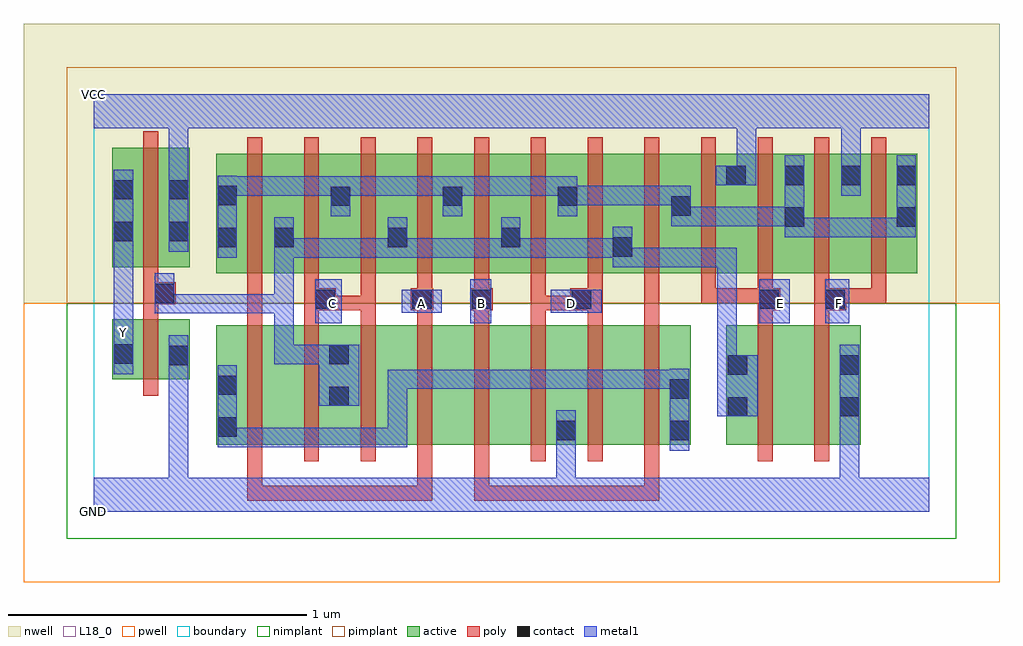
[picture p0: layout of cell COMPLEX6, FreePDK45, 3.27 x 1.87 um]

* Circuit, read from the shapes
.subckt COMPLEX6 A B C D E F GND VCC Y
M1 GND n1 Y VSUBS nfet w=0.2u l=0.05u
M2 n2 A n3 VSUBS nfet w=0.4u l=0.05u
M3 n1 C n2 VSUBS nfet w=0.4u l=0.05u
M4 n4 C n1 VSUBS nfet w=0.4u l=0.05u
M5 n5 A n4 VSUBS nfet w=0.4u l=0.05u
M6 n6 B n5 VSUBS nfet w=0.4u l=0.05u
M7 GND D n6 VSUBS nfet w=0.4u l=0.05u
M8 n7 D GND VSUBS nfet w=0.4u l=0.05u
M9 n3 B n7 VSUBS nfet w=0.4u l=0.05u
M10 n8 E n1 VSUBS nfet w=0.4u l=0.05u
M11 GND F n8 VSUBS nfet w=0.4u l=0.05u
M12 VCC n1 Y n9 pfet w=0.4u l=0.05u
M13 n1 A n10 n9 pfet w=0.4u l=0.05u m=2
M14 n10 C n1 n9 pfet w=0.4u l=0.05u m=2
M15 n1 B n10 n9 pfet w=0.4u l=0.05u m=2
M16 n10 D n1 n9 pfet w=0.4u l=0.05u m=2
M17 VCC E n10 n9 pfet w=0.4u l=0.05u m=2
M18 VCC F n10 n9 pfet w=0.4u l=0.05u m=2
.ends

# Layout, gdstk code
import gdstk
lib = gdstk.Library(unit=1e-6, precision=1e-09)
def R(c, l, rs):  # rectangles x0, y0, x1, y1
    for r in rs: c.add(gdstk.rectangle(r[:2], r[2:], *l))
def A(c, l, x, y, w, h, nx, ny, dx, dy):  # array of equal rectangles
    R(c, l, [(x+i*dx, y+j*dy, x+i*dx+w, y+j*dy+h) for i in range(nx) for j in range(ny)])
active = (1, 0)
pwell = (2, 0)
nwell = (3, 0)
nimplant = (4, 0)
pimplant = (5, 0)
poly = (9, 0)
contact = (10, 0)
metal1 = (11, 0)
L18_0 = (18, 0)
boundary = (235, 0)

complex6 = lib.new_cell('COMPLEX6')
A(complex6, active, 0.41, 0.8, 0.265, 0.4, 3, 1, 0.19, 0)
A(complex6, active, 0.6, 0.8, 0.075, 0.27, 3, 1, 0.38, 0)
R(complex6, active, [(0.41,0.225,0.635,0.625), (0.635,0.225,0.86,0.625), (0.785,0.225,1.015,0.625), (1.015,0.225,1.205,0.625), (1.205,0.225,1.395,0.625), (1.395,0.225,1.62,0.625), (1.545,0.225,1.775,0.625), (1.545,0.225,1.62,0.617), (1.775,0.225,2,0.625), (1.925,0.225,2,0.625), (2.12,0.225,2.195,0.625), (2.12,0.225,2.345,0.625), (2.345,0.225,2.57,0.625), (2.495,0.225,2.57,0.625), (0.41,0.245,0.485,0.625), (0.785,0.245,0.86,0.617), (0.062,0.445,0.137,0.645), (0.062,0.445,0.322,0.645), (0.247,0.445,0.322,0.645), (0.41,0.8,0.485,1.192), (0.98,0.8,1.24,1.2), (1.165,0.8,1.435,1.2), (1.36,0.8,1.625,1.2), (1.55,0.8,1.81,1.2), (1.735,0.8,2.005,1.2), (1.735,0.8,1.81,1.07), (1.93,0.8,2.005,1.192), (1.93,0.8,2.19,1.2), (2.115,0.8,2.385,1.2), (2.31,0.8,2.385,1.2), (2.31,0.8,2.575,1.2), (2.5,0.8,2.76,1.2), (2.685,0.8,2.76,1.2), (2.115,0.802,2.19,1.2), (2.5,0.802,2.575,1.2), (0.062,0.82,0.322,1.22), (0.062,0.82,0.137,1.155), (0.247,0.82,0.322,1.155), (1.165,0.847,1.24,1.2), (0.79,0.907,0.865,1.192), (1.55,0.907,1.625,1.2)])
R(complex6, pwell, [(-0.235,-0.235,3.035,0.7)])
R(complex6, nwell, [(-0.235,0.7,3.035,1.635)])
R(complex6, nimplant, [(-0.09,-0.09,2.89,0.7)])
R(complex6, pimplant, [(-0.09,0.7,2.89,1.49)])
A(complex6, poly, 0.515, 0.17, 0.05, 0.51, 8, 1, 0.19, 0)
A(complex6, poly, 0.705, 0.63, 0.05, 0.095, 6, 1, 0.19, 0)
A(complex6, poly, 1.655, 0.7, 0.05, 0.095, 6, 1, 0.19, 0)
A(complex6, poly, 0.515, 0.745, 0.05, 0.51, 12, 1, 0.19, 0)
R(complex6, poly, [(0.515,0.037,0.565,0.087), (0.515,0.037,0.565,0.087), (0.515,0.037,0.565,0.087), (0.515,0.037,0.565,0.22), (0.515,0.037,0.812,0.087), (0.762,0.037,0.812,0.087), (0.762,0.037,0.812,0.087), (0.762,0.037,0.812,0.087), (0.762,0.037,0.98,0.087), (0.93,0.037,0.98,0.087), (0.93,0.037,1.135,0.087), (1.085,0.037,1.135,0.087), (1.085,0.037,1.135,0.087), (1.085,0.037,1.135,0.087), (1.085,0.037,1.135,0.22), (1.275,0.037,1.325,0.087), (1.275,0.037,1.325,0.087), (1.275,0.037,1.325,0.087), (1.275,0.037,1.515,0.087), (1.275,0.037,1.325,0.22), (1.465,0.037,1.515,0.087), (1.465,0.037,1.647,0.087), (1.597,0.037,1.647,0.087), (1.597,0.037,1.647,0.087), (1.597,0.037,1.647,0.087), (1.597,0.037,1.895,0.087), (1.845,0.037,1.895,0.087), (1.845,0.037,1.895,0.087), (1.845,0.037,1.895,0.087), (1.845,0.037,1.895,0.22), (2.225,0.17,2.275,0.68), (2.415,0.17,2.465,0.68), (0.167,0.39,0.217,0.7), (0.515,0.63,0.565,0.75), (1.845,0.63,1.895,0.75), (2.225,0.63,2.275,0.725), (2.415,0.63,2.465,0.725), (0.167,0.65,0.217,0.745), (0.705,0.675,0.812,0.75), (0.762,0.675,0.945,0.725), (0.895,0.675,0.945,0.725), (0.895,0.675,0.945,0.725), (0.895,0.675,0.945,0.725), (0.895,0.675,0.945,0.795), (1.062,0.675,1.137,0.75), (1.262,0.675,1.337,0.75), (1.465,0.675,1.515,0.725), (1.465,0.675,1.515,0.795), (1.465,0.675,1.647,0.725), (1.597,0.675,1.647,0.725), (1.597,0.675,1.647,0.725), (1.597,0.675,1.705,0.75), (2.225,0.675,2.3,0.75), (2.415,0.675,2.522,0.75), (0.167,0.695,0.275,0.77), (0.515,0.7,0.565,0.795), (0.515,0.7,0.565,0.75), (0.705,0.7,0.755,0.795), (1.085,0.7,1.135,0.795), (1.275,0.7,1.325,0.795), (1.845,0.7,1.895,0.75), (2.035,0.7,2.085,0.75), (2.035,0.7,2.085,0.75), (2.035,0.7,2.085,0.75), (2.035,0.7,2.275,0.75), (2.472,0.7,2.655,0.75), (2.472,0.7,2.522,0.75), (2.472,0.7,2.522,0.75), (2.605,0.7,2.655,0.75), (0.167,0.72,0.217,0.815), (0.167,0.765,0.217,1.275)])
A(complex6, contact, 0.605, 0.887, 0.065, 0.065, 3, 1, 0.38, 0)
R(complex6, contact, [(1.55,0.24,1.615,0.305), (1.93,0.24,1.995,0.305), (0.415,0.252,0.48,0.317), (2.125,0.32,2.19,0.385), (2.5,0.32,2.565,0.385), (0.79,0.355,0.855,0.42), (1.93,0.38,1.995,0.445), (0.415,0.392,0.48,0.457), (2.125,0.46,2.19,0.525), (2.5,0.46,2.565,0.525), (0.252,0.492,0.317,0.557), (0.79,0.495,0.855,0.56), (0.067,0.497,0.132,0.562), (0.742,0.68,0.807,0.745), (1.067,0.68,1.132,0.745), (1.267,0.68,1.332,0.745), (1.602,0.68,1.667,0.745), (2.23,0.68,2.295,0.745), (2.452,0.68,2.517,0.745), (0.205,0.7,0.27,0.765), (1.74,0.855,1.805,0.92), (0.415,0.887,0.48,0.952), (0.067,0.907,0.132,0.972), (0.252,0.907,0.317,0.972), (2.315,0.955,2.38,1.02), (2.69,0.955,2.755,1.02), (1.935,0.992,2,1.057), (0.795,1.025,0.86,1.09), (1.17,1.025,1.235,1.09), (1.555,1.025,1.62,1.09), (0.415,1.027,0.48,1.092), (0.067,1.047,0.132,1.112), (0.252,1.047,0.317,1.112), (2.12,1.095,2.185,1.16), (2.315,1.095,2.38,1.16), (2.505,1.095,2.57,1.16), (2.69,1.095,2.755,1.16)])
A(complex6, metal1, 0.605, 0.852, 0.065, 0.135, 3, 1, 0.38, 0)
R(complex6, metal1, [(0,0,2.8,0.115), (0.252,0.05,0.317,0.115), (0.252,0.05,0.317,0.115), (0.252,0.05,0.317,0.115), (0.252,0.05,0.317,0.115), (0.252,0.05,0.317,0.115), (0.252,0.05,0.317,0.115), (0.252,0.05,0.317,0.522), (1.55,0.05,1.615,0.27), (2.5,0.05,2.565,0.115), (2.5,0.05,2.565,0.115), (2.5,0.05,2.565,0.35), (1.55,0.205,1.615,0.27), (1.55,0.205,1.615,0.27), (1.55,0.205,1.615,0.34), (1.93,0.205,1.995,0.48), (0.415,0.217,0.48,0.282), (0.415,0.217,0.48,0.282), (0.415,0.217,0.48,0.492), (0.415,0.217,0.682,0.282), (0.617,0.217,0.682,0.282), (0.617,0.217,0.682,0.282), (0.617,0.217,0.682,0.282), (0.617,0.217,0.912,0.282), (0.847,0.217,0.912,0.282), (0.847,0.217,0.912,0.282), (0.847,0.217,0.912,0.282), (0.847,0.217,1.05,0.282), (0.985,0.217,1.05,0.282), (0.985,0.217,1.05,0.477), (2.5,0.285,2.565,0.56), (2.09,0.32,2.225,0.525), (0.755,0.355,0.89,0.56), (0.985,0.412,1.05,0.477), (0.985,0.412,1.05,0.477), (0.985,0.412,1.05,0.477), (0.985,0.412,1.187,0.477), (1.122,0.412,1.187,0.477), (1.122,0.412,1.187,0.477), (1.122,0.412,1.187,0.477), (1.122,0.412,1.43,0.477), (1.365,0.412,1.43,0.477), (1.365,0.412,1.43,0.477), (1.365,0.412,1.43,0.477), (1.365,0.412,1.62,0.477), (1.555,0.412,1.62,0.477), (1.555,0.412,1.757,0.477), (1.692,0.412,1.757,0.477), (1.692,0.412,1.757,0.477), (1.692,0.412,1.757,0.477), (1.692,0.412,1.995,0.477), (1.93,0.412,1.995,0.477), (1.93,0.412,1.995,0.477), (0.252,0.457,0.317,0.592), (2.09,0.46,2.155,0.525), (2.09,0.46,2.155,0.525), (2.09,0.46,2.155,0.885), (0.067,0.462,0.132,0.597), (0.605,0.495,0.67,0.56), (0.605,0.495,0.67,0.56), (0.605,0.495,0.67,0.56), (0.605,0.495,0.82,0.56), (0.605,0.495,0.67,0.73), (0.067,0.532,0.132,0.597), (0.067,0.532,0.132,0.667), (0.067,0.602,0.132,0.937), (0.742,0.632,0.832,0.78), (1.262,0.632,1.332,0.78), (2.23,0.632,2.332,0.78), (2.452,0.632,2.532,0.78), (0.205,0.665,0.27,0.73), (0.205,0.665,0.27,0.73), (0.205,0.665,0.27,0.8), (0.205,0.665,0.455,0.73), (0.39,0.665,0.455,0.73), (0.39,0.665,0.455,0.73), (0.39,0.665,0.455,0.73), (0.39,0.665,0.67,0.73), (0.605,0.665,0.67,0.73), (0.605,0.665,0.67,0.917), (1.032,0.667,1.167,0.745), (1.532,0.667,1.702,0.745), (1.74,0.82,1.805,0.955), (1.74,0.82,1.942,0.885), (1.877,0.82,1.942,0.885), (1.877,0.82,1.942,0.885), (1.877,0.82,1.942,0.885), (1.877,0.82,2.155,0.885), (2.09,0.82,2.155,0.885), (2.09,0.82,2.155,0.885), (2.09,0.82,2.155,0.885), (0.415,0.852,0.48,1.127), (0.605,0.852,0.67,0.917), (0.605,0.852,0.67,0.917), (0.605,0.852,0.912,0.917), (0.847,0.852,0.912,0.917), (0.847,0.852,0.912,0.917), (0.847,0.852,0.912,0.917), (0.847,0.852,1.05,0.917), (0.985,0.852,1.05,0.917), (0.985,0.852,1.05,0.917), (0.985,0.852,1.292,0.917), (1.227,0.852,1.292,0.917), (1.227,0.852,1.292,0.917), (1.227,0.852,1.292,0.917), (1.227,0.852,1.43,0.917), (1.365,0.852,1.43,0.917), (1.365,0.852,1.43,0.917), (1.365,0.852,1.567,0.917), (1.502,0.852,1.567,0.917), (1.502,0.852,1.567,0.917), (1.502,0.852,1.567,0.917), (1.502,0.852,1.805,0.917), (0.067,0.872,0.132,1.147), (0.252,0.872,0.317,1.147), (2.315,0.92,2.38,0.985), (2.315,0.92,2.38,0.985), (2.315,0.92,2.38,1.195), (2.315,0.92,2.517,0.985), (2.452,0.92,2.517,0.985), (2.452,0.92,2.517,0.985), (2.452,0.92,2.517,0.985), (2.452,0.92,2.755,0.985), (2.69,0.92,2.755,0.985), (2.69,0.92,2.755,0.985), (2.69,0.92,2.755,1.195), (1.935,0.957,2,1.092), (1.935,0.957,2.157,1.022), (2.092,0.957,2.157,1.022), (2.092,0.957,2.157,1.022), (2.092,0.957,2.157,1.022), (2.092,0.957,2.38,1.022), (2.315,0.957,2.38,1.022), (2.315,0.957,2.38,1.022), (0.795,0.99,0.86,1.125), (1.17,0.99,1.235,1.125), (1.555,0.99,1.62,1.125), (1.555,1.027,1.62,1.092), (1.555,1.027,1.62,1.092), (1.555,1.027,1.757,1.092), (1.692,1.027,1.757,1.092), (1.692,1.027,2,1.092), (1.935,1.027,2,1.092), (1.935,1.027,2,1.092), (0.415,1.06,0.48,1.125), (0.415,1.06,0.48,1.125), (0.415,1.06,0.682,1.125), (0.617,1.06,0.682,1.125), (0.617,1.06,0.682,1.125), (0.617,1.06,0.682,1.125), (0.617,1.06,0.86,1.125), (0.795,1.06,0.86,1.125), (0.795,1.06,0.86,1.125), (0.795,1.06,1.05,1.125), (0.985,1.06,1.05,1.125), (0.985,1.06,1.05,1.125), (0.985,1.06,1.05,1.125), (0.985,1.06,1.235,1.125), (1.17,1.06,1.235,1.125), (1.17,1.06,1.235,1.125), (1.17,1.06,1.43,1.125), (1.365,1.06,1.43,1.125), (1.365,1.06,1.43,1.125), (1.365,1.06,1.43,1.125), (1.365,1.06,1.62,1.125), (2.505,1.06,2.57,1.195), (0.252,1.082,0.317,1.35), (2.085,1.095,2.22,1.16), (2.155,1.095,2.22,1.35), (2.505,1.13,2.57,1.35), (0,1.285,2.8,1.4)])
R(complex6, L18_0, [(0,0,2.8,0.115), (0.252,0.05,0.317,0.115), (0.252,0.05,0.317,0.115), (0.252,0.05,0.317,0.115), (0.252,0.05,0.317,0.115), (0.252,0.05,0.317,0.115), (0.252,0.05,0.317,0.115), (0.252,0.05,0.317,0.522), (1.55,0.05,1.615,0.27), (2.5,0.05,2.565,0.115), (2.5,0.05,2.565,0.115), (2.5,0.05,2.565,0.35), (1.55,0.205,1.615,0.34), (1.55,0.205,1.615,0.27), (1.55,0.205,1.615,0.27), (2.5,0.285,2.565,0.56), (0.252,0.457,0.317,0.592), (0.067,0.462,0.132,0.597), (0.067,0.532,0.132,0.667), (0.067,0.532,0.132,0.597), (0.067,0.567,0.132,0.632), (0.067,0.602,0.132,0.937), (0.742,0.632,0.832,0.78), (1.262,0.632,1.332,0.78), (2.23,0.632,2.332,0.78), (2.452,0.632,2.532,0.78), (0.767,0.667,0.832,0.732), (1.032,0.667,1.167,0.745), (1.067,0.667,1.132,0.732), (1.267,0.667,1.332,0.732), (1.532,0.667,1.702,0.745), (1.567,0.667,1.632,0.732), (2.267,0.667,2.332,0.732), (2.467,0.667,2.532,0.732), (0.067,0.872,0.132,1.147), (0.252,0.872,0.317,1.147), (2.505,1.06,2.57,1.195), (0.252,1.082,0.317,1.35), (2.085,1.095,2.22,1.16), (2.155,1.095,2.22,1.35), (2.505,1.13,2.57,1.35), (0,1.285,2.8,1.4)])
R(complex6, boundary, [(0,0,2.8,1.4)])
complex6.add(gdstk.Label('A', (1.1,0.7), layer=11, texttype=0))
complex6.add(gdstk.Label('B', (1.3,0.7), layer=11, texttype=0))
complex6.add(gdstk.Label('C', (0.8,0.7), layer=11, texttype=0))
complex6.add(gdstk.Label('D', (1.6,0.7), layer=11, texttype=0))
complex6.add(gdstk.Label('E', (2.3,0.7), layer=11, texttype=0))
complex6.add(gdstk.Label('F', (2.5,0.7), layer=11, texttype=0))
complex6.add(gdstk.Label('Y', (0.1,0.6), layer=11, texttype=0))
complex6.add(gdstk.Label('VCC', (0,1.4), layer=11, texttype=0))
complex6.add(gdstk.Label('GND', (0,0), layer=11, texttype=0))

lib.write_gds('COMPLEX6.gds')
